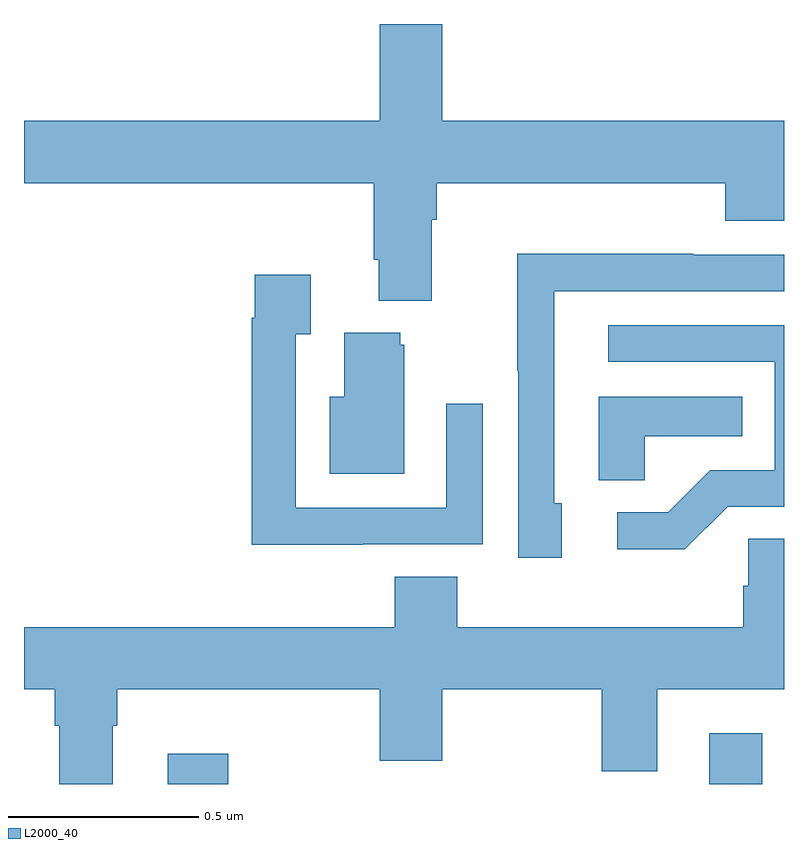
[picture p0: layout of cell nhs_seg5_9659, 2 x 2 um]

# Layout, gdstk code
import gdstk
lib = gdstk.Library(unit=1e-6, precision=1e-09)
def R(c, l, rs):  # rectangles x0, y0, x1, y1
    for r in rs: c.add(gdstk.rectangle(r[:2], r[2:], *l))
def P(c, l, *ps):  # polygons
    for p in ps: c.add(gdstk.Polygon(p, *l))
L2000_40 = (2000, 40)

nhs_seg5_9659 = lib.new_cell('nhs_seg5_9659')
R(nhs_seg5_9659, L2000_40, [(236.378,901.799,236.537,901.879), (237.803,901.799,237.943,901.933)])
P(nhs_seg5_9659, L2000_40, [(237.073,903.284),(237.086,903.284),(237.086,903.38),(237.845,903.38),(237.845,903.281),(238,903.281),(238,903.544),(237.1,903.544),(237.1,903.799),(236.936,903.799),(236.936,903.544),(236,903.544),(236,903.38),(236.921,903.38),(236.921,903.178),(236.933,903.178),(236.933,903.071),(237.073,903.071)],
  [(237.415,902.538),(237.396,902.538),(237.396,903.096),(238,903.096),(238,903.192),(237.761,903.192),(237.761,903.194),(237.298,903.194),(237.298,902.887),(237.3,902.887),(237.3,902.394),(237.415,902.394)],
  [(236.891,902.43),(237.207,902.43),(237.207,902.8),(237.111,902.8),(237.111,902.526),(236.715,902.526),(236.715,902.983),(236.755,902.983),(236.755,903.139),(236.607,903.139),(236.607,903.026),(236.599,903.026),(236.599,902.429),(236.891,902.429)],
  [(237.852,902.529),(238,902.529),(238,903.006),(237.537,903.006),(237.537,902.91),(237.975,902.91),(237.975,902.625),(237.806,902.625),(237.695,902.514),(237.561,902.514),(237.561,902.417),(237.739,902.417)],
  [(237.001,902.955),(236.99,902.955),(236.99,902.986),(236.843,902.986),(236.843,902.818),(236.804,902.818),(236.804,902.615),(237.001,902.615)],
  [(237.633,902.714),(237.89,902.714),(237.89,902.818),(237.512,902.818),(237.512,902.599),(237.633,902.599)],
  [(236.233,901.952),(236.246,901.952),(236.246,902.048),(236.936,902.048),(236.936,901.86),(237.1,901.86),(237.1,902.048),(237.52,902.048),(237.52,901.832),(237.667,901.832),(237.667,902.048),(238,902.048),(238,902.444),(237.906,902.444),(237.906,902.321),(237.893,902.321),(237.893,902.212),(237.14,902.212),(237.14,902.345),(236.975,902.345),(236.975,902.212),(236,902.212),(236,902.048),(236.081,902.048),(236.081,901.952),(236.093,901.952),(236.093,901.799),(236.233,901.799)])

lib.write_gds('nhs_seg5_9659.gds')
